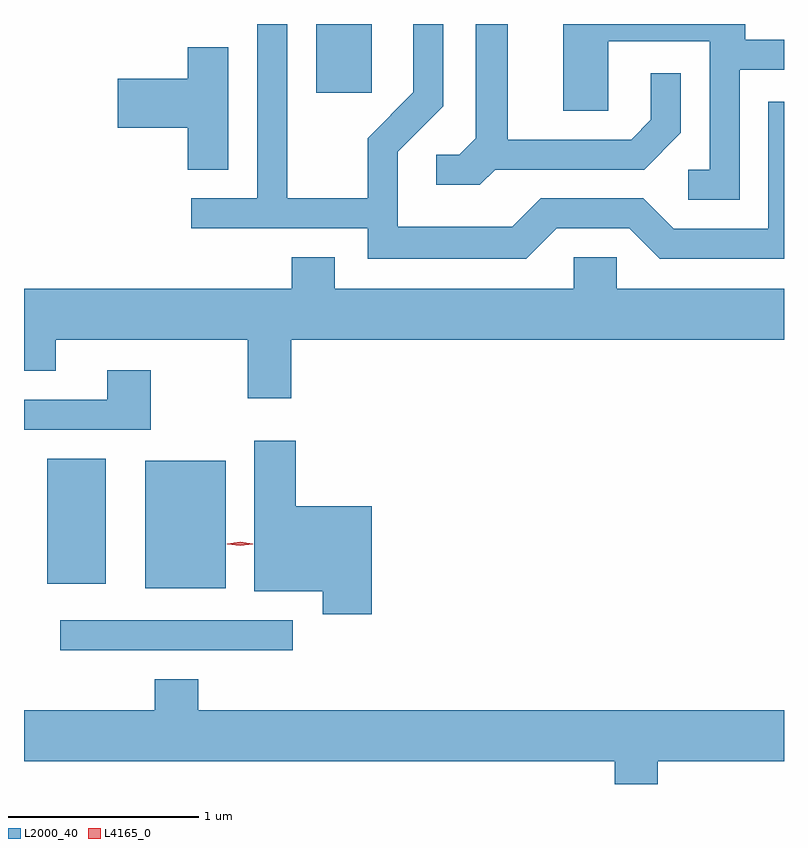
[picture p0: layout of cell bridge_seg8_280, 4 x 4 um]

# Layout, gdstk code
import gdstk
lib = gdstk.Library(unit=1e-6, precision=1e-09)
def R(c, l, rs):  # rectangles x0, y0, x1, y1
    for r in rs: c.add(gdstk.rectangle(r[:2], r[2:], *l))
def P(c, l, *ps):  # polygons
    for p in ps: c.add(gdstk.Polygon(p, *l))
L2000_40 = (2000, 40)
L4165_0 = (4165, 0)

bridge_seg8_280 = lib.new_cell('bridge_seg8_280')
R(bridge_seg8_280, L2000_40, [(1363.103,1837.001,1364.328,1837.159), (1363.551,1837.326,1363.974,1837.999), (1363.036,1837.351,1363.344,1838.009), (1364.451,1839.936,1364.744,1840.297)])
P(bridge_seg8_280, L2000_40, [(1366.679,1840.056),(1366.913,1840.056),(1366.913,1840.214),(1366.709,1840.214),(1366.709,1840.297),(1365.751,1840.297),(1365.751,1839.841),(1365.989,1839.841),(1365.989,1840.206),(1366.521,1840.206),(1366.521,1839.529),(1366.408,1839.529),(1366.408,1839.371),(1366.679,1839.371)],
  [(1365.717,1839.221),(1366.099,1839.221),(1366.259,1839.061),(1366.913,1839.061),(1366.913,1839.889),(1366.831,1839.889),(1366.831,1839.219),(1366.332,1839.219),(1366.172,1839.379),(1365.634,1839.379),(1365.484,1839.229),(1364.879,1839.229),(1364.879,1839.624),(1365.119,1839.864),(1365.119,1840.297),(1364.961,1840.297),(1364.961,1839.937),(1364.721,1839.697),(1364.721,1839.379),(1364.299,1839.379),(1364.299,1840.297),(1364.141,1840.297),(1364.141,1839.379),(1363.793,1839.379),(1363.793,1839.221),(1364.721,1839.221),(1364.721,1839.061),(1365.557,1839.061)],
  [(1365.392,1839.531),(1366.177,1839.531),(1366.369,1839.724),(1366.369,1840.038),(1366.211,1840.038),(1366.211,1839.792),(1366.109,1839.689),(1365.459,1839.689),(1365.459,1840.297),(1365.291,1840.297),(1365.291,1839.697),(1365.204,1839.609),(1365.083,1839.609),(1365.083,1839.451),(1365.312,1839.451)],
  [(1363.989,1840.174),(1363.776,1840.174),(1363.776,1840.009),(1363.406,1840.009),(1363.406,1839.751),(1363.776,1839.751),(1363.776,1839.531),(1363.989,1839.531)],
  [(1364.319,1838.636),(1366.913,1838.636),(1366.913,1838.904),(1366.034,1838.904),(1366.034,1839.069),(1365.806,1839.069),(1365.806,1838.904),(1364.549,1838.904),(1364.549,1839.069),(1364.321,1839.069),(1364.321,1838.904),(1362.913,1838.904),(1362.913,1838.471),(1363.079,1838.471),(1363.079,1838.636),(1364.091,1838.636),(1364.091,1838.326),(1364.319,1838.326)],
  [(1363.579,1838.474),(1363.351,1838.474),(1363.351,1838.319),(1362.913,1838.319),(1362.913,1838.161),(1363.579,1838.161)],
  [(1364.744,1837.759),(1364.344,1837.759),(1364.344,1838.104),(1364.126,1838.104),(1364.126,1837.311),(1364.486,1837.311),(1364.486,1837.191),(1364.744,1837.191)],
  [(1366.249,1836.416),(1366.913,1836.416),(1366.913,1836.684),(1363.829,1836.684),(1363.829,1836.849),(1363.601,1836.849),(1363.601,1836.684),(1362.913,1836.684),(1362.913,1836.416),(1366.021,1836.416),(1366.021,1836.297),(1366.249,1836.297)])
P(bridge_seg8_280, L4165_0, [(1364.05,1837.551),(1363.984,1837.56),(1363.984,1837.561),(1363.984,1837.561),(1364.05,1837.571),(1364.116,1837.561),(1364.117,1837.561),(1364.116,1837.56)])

lib.write_gds('bridge_seg8_280.gds')
